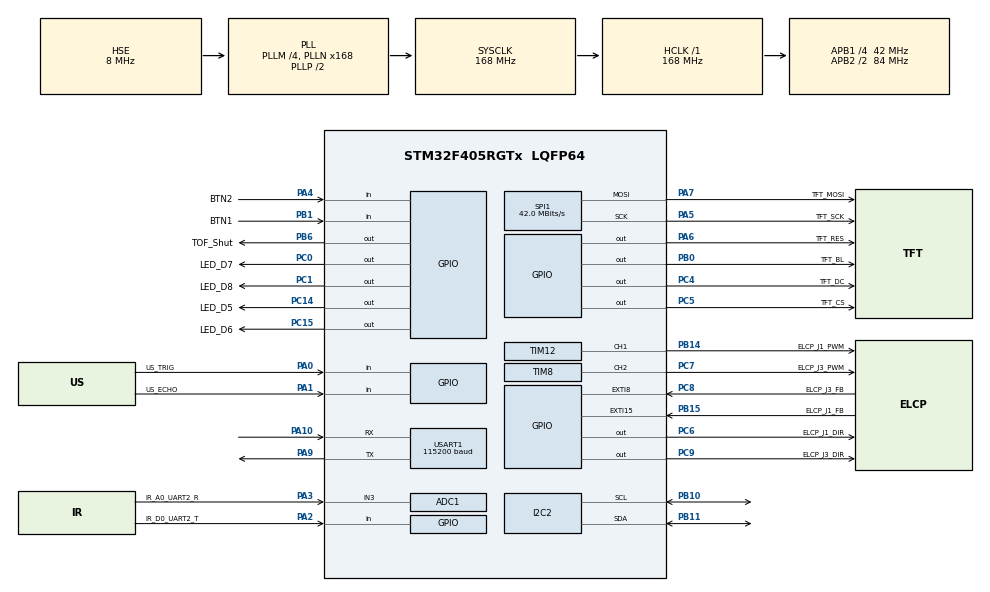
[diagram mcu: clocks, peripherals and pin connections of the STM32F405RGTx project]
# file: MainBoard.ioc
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ADC1.Channel-0\#ChannelRegularConversion=ADC_CHANNEL_3
ADC1.NbrOfConversionFlag=1
ADC1.Rank-0\#ChannelRegularConversion=1
ADC1.SamplingTime-0\#ChannelRegularConversion=ADC_SAMPLETIME_144CYCLES
ADC1.master=1
Dma.Request0=SPI1_TX
Dma.SPI1_TX.0.Direction=DMA_MEMORY_TO_PERIPH
Dma.SPI1_TX.0.FIFOMode=DMA_FIFOMODE_ENABLE
Dma.SPI1_TX.0.FIFOThreshold=DMA_FIFO_THRESHOLD_FULL
Dma.SPI1_TX.0.Instance=DMA2_Stream3
Dma.SPI1_TX.0.MemBurst=DMA_MBURST_INC16
Dma.SPI1_TX.0.MemDataAlignment=DMA_MDATAALIGN_BYTE
Dma.SPI1_TX.0.MemInc=DMA_MINC_ENABLE
Dma.SPI1_TX.0.Mode=DMA_NORMAL
Dma.SPI1_TX.0.PeriphBurst=DMA_PBURST_SINGLE
Dma.SPI1_TX.0.PeriphDataAlignment=DMA_PDATAALIGN_BYTE
Dma.SPI1_TX.0.PeriphInc=DMA_PINC_DISABLE
Dma.SPI1_TX.0.Priority=DMA_PRIORITY_LOW
Mcu.Family=STM32F4
Mcu.Name=STM32F405RGTx
Mcu.Package=LQFP64
NVIC.DMA2_Stream3_IRQn=true\:0\:0\:false\:false\:true\:false\:true\:true
NVIC.EXTI15_10_IRQn=true\:0\:0\:false\:false\:true\:true\:true\:true
NVIC.EXTI9_5_IRQn=true\:0\:0\:false\:false\:true\:true\:true\:true
NVIC.PriorityGroup=NVIC_PRIORITYGROUP_4
NVIC.SPI1_IRQn=true\:0\:0\:false\:false\:true\:true\:true\:true
NVIC.USART1_IRQn=true\:0\:0\:false\:false\:true\:true\:true\:true
PA0-WKUP.GPIO_Label=US_TRIG
PA0-WKUP.Signal=GPIO_Input
PA1.GPIO_Label=US_ECHO
PA1.Signal=GPIO_Input
PA10.Mode=Asynchronous
PA10.Signal=USART1_RX
PA13.Mode=Serial_Wire
PA13.Signal=SYS_JTMS-SWDIO
PA14.Mode=Serial_Wire
PA14.Signal=SYS_JTCK-SWCLK
PA2.GPIO_Label=IR_D0_UART2_T
PA2.Signal=GPIO_Input
PA3.GPIO_Label=IR_A0_UART2_R
PA3.Signal=SharedAnalog_PA3
PA4.GPIO_Label=BTN2
PA4.GPIO_PuPd=GPIO_PULLUP
PA4.Signal=GPIO_Input
PA5.GPIO_Label=TFT_SCK
PA5.Mode=TX_Only_Simplex_Unidirect_Master
PA5.Signal=SPI1_SCK
PA6.GPIO_Label=TFT_RES
PA6.Signal=GPIO_Output
PA7.GPIO_Label=TFT_MOSI
PA7.Mode=TX_Only_Simplex_Unidirect_Master
PA7.Signal=SPI1_MOSI
PA9.Mode=Asynchronous
PA9.Signal=USART1_TX
PB0.GPIO_Label=TFT_BL
PB0.Signal=GPIO_Output
PB1.GPIO_Label=BTN1
PB1.GPIO_PuPd=GPIO_PULLUP
PB1.Signal=GPIO_Input
PB10.Mode=I2C
PB10.Signal=I2C2_SCL
PB11.Mode=I2C
PB11.Signal=I2C2_SDA
PB14.GPIO_Label=ELCP_J1_PWM
PB14.Signal=S_TIM12_CH1
PB15.GPIO_Label=ELCP_J1_FB
PB15.GPIO_PuPd=GPIO_PULLUP
PB15.Signal=GPXTI15
PB6.GPIO_Label=TOF_Shut
PB6.Signal=GPIO_Output
PC0.GPIO_Label=LED_D7
PC0.PinState=GPIO_PIN_SET
PC0.Signal=GPIO_Output
PC1.GPIO_Label=LED_D8
PC1.PinState=GPIO_PIN_SET
PC1.Signal=GPIO_Output
PC14-OSC32_IN.GPIO_Label=LED_D5
PC14-OSC32_IN.PinState=GPIO_PIN_SET
PC14-OSC32_IN.Signal=GPIO_Output
PC15-OSC32_OUT.GPIO_Label=LED_D6
PC15-OSC32_OUT.PinState=GPIO_PIN_SET
PC15-OSC32_OUT.Signal=GPIO_Output
PC4.GPIO_Label=TFT_DC
PC4.Signal=GPIO_Output
PC5.GPIO_Label=TFT_CS
PC5.Signal=GPIO_Output
PC6.GPIO_Label=ELCP_J1_DIR
PC6.GPIO_ModeDefaultOutputPP=GPIO_MODE_OUTPUT_OD
PC6.GPIO_PuPd=GPIO_NOPULL
PC6.Signal=GPIO_Output
PC7.GPIO_Label=ELCP_J3_PWM
PC7.Signal=S_TIM8_CH2
PC8.GPIO_Label=ELCP_J3_FB
PC8.GPIO_PuPd=GPIO_PULLUP
PC8.Signal=GPXTI8
PC9.GPIO_Label=ELCP_J3_DIR
PC9.GPIO_ModeDefaultOutputPP=GPIO_MODE_OUTPUT_OD
PC9.GPIO_PuPd=GPIO_NOPULL
PC9.Signal=GPIO_Output
PH0-OSC_IN.Mode=HSE-External-Oscillator
PH0-OSC_IN.Signal=RCC_OSC_IN
PH1-OSC_OUT.Mode=HSE-External-Oscillator
PH1-OSC_OUT.Signal=RCC_OSC_OUT
ProjectManager.HeapSize=0x200
ProjectManager.StackSize=0x400
ProjectManager.TargetToolchain=CMake
RCC.48MHZClocksFreq_Value=84000000
RCC.AHBFreq_Value=168000000
RCC.APB1CLKDivider=RCC_HCLK_DIV4
RCC.APB1Freq_Value=42000000
RCC.APB1TimFreq_Value=84000000
RCC.APB2CLKDivider=RCC_HCLK_DIV2
RCC.APB2Freq_Value=84000000
RCC.APB2TimFreq_Value=168000000
RCC.CortexFreq_Value=168000000
RCC.HCLKFreq_Value=168000000
RCC.HSE_VALUE=8000000
RCC.HSI_VALUE=16000000
RCC.LSE_VALUE=32768
RCC.PLLM=4
RCC.PLLN=168
RCC.PLLSourceVirtual=RCC_PLLSOURCE_HSE
RCC.SYSCLKFreq_VALUE=168000000
RCC.SYSCLKSource=RCC_SYSCLKSOURCE_PLLCLK
RCC.VCOOutputFreq_Value=336000000
SH.S_TIM12_CH1.0=TIM12_CH1,PWM Generation1 CH1
SH.S_TIM8_CH2.0=TIM8_CH2,PWM Generation2 CH2
SH.SharedAnalog_PA3.0=GPIO_Analog
SH.SharedAnalog_PA3.1=ADC1_IN3,IN3
SPI1.BaudRatePrescaler=SPI_BAUDRATEPRESCALER_2
SPI1.CalculateBaudRate=42.0 MBits/s
SPI1.Direction=SPI_DIRECTION_2LINES
SPI1.Mode=SPI_MODE_MASTER
SPI1.VirtualType=VM_MASTER
TIM12.AutoReloadPreload=TIM_AUTORELOAD_PRELOAD_ENABLE
TIM12.Channel-PWM\ Generation1\ CH1=TIM_CHANNEL_1
TIM12.Period=1049
TIM12.Prescaler=7
TIM8.AutoReloadPreload=TIM_AUTORELOAD_PRELOAD_ENABLE
TIM8.Channel-PWM\ Generation2\ CH2=TIM_CHANNEL_2
TIM8.OCPolarity_2=TIM_OCPOLARITY_HIGH
TIM8.Period=1049
TIM8.Prescaler=7
USART1.BaudRate=115200
USART1.VirtualMode=VM_ASYNC
VP_TIM8_VS_ClockSourceINT.Mode=Internal
board=custom

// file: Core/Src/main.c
/* USER CODE BEGIN Header */
/**
  ******************************************************************************
  * @file           : main.c
  * @brief          : Main program body
  ******************************************************************************
  * @attention
  *
  * Copyright (c) 2026 STMicroelectronics.
  * All rights reserved.
  *
  * This software is licensed under terms that can be found in the LICENSE file
  * in the root directory of this software component.
  * If no LICENSE file comes with this software, it is provided AS-IS.
  *
  ******************************************************************************
  */
/* USER CODE END Header */
#include "main.h"
#include "adc.h"
#include "dma.h"
#include "i2c.h"
#include "spi.h"
#include "tim.h"
#include "usart.h"
#include "gpio.h"

/* USER CODE BEGIN Includes */
#include "lcd/lcd.h"
#include "lcd/lcd_graphics.h"
#include "robotics_logo.h"
#include "elcp_motor/elcp_motor.h"
#include "sensors.h"
#include "tof_config.h"
#include "ir_app.h"
/* USER CODE END Includes */

void SystemClock_Config(void);

int main(void)
{

  /* MCU Configuration--------------------------------------------------------*/

  /* Reset of all peripherals, Initializes the Flash interface and the Systick. */
  HAL_Init();

  /* Configure the system clock */
  SystemClock_Config();

  /* Initialize all configured peripherals */
  MX_GPIO_Init();
  MX_DMA_Init();
  MX_SPI1_Init();
  MX_USART1_UART_Init();
  MX_TIM8_Init();
  MX_TIM12_Init();
  MX_I2C2_Init();
  MX_ADC1_Init();
  /* USER CODE BEGIN 2 */
  IR_Init();
  // Initialize and stop motors on startup
  ELCP_Motor_Init(MOTOR_J1);
  ELCP_Motor_Init(MOTOR_J3);
  ELCP_Motor_Stop(MOTOR_J1);
  ELCP_Motor_Stop(MOTOR_J3);

  tft_init(PIN_ON_TOP, BLACK, WHITE, CYAN, DARK_GREY);
  bool tof_ready = (TOF_Init() == HAL_OK);
  TOF_Sample tof_sample = {0};

  /* USER CODE END 2 */

  /* Infinite loop */
  while (1)
  {

    /* USER CODE BEGIN 3 */
    // Display header title
    uint32_t now = HAL_GetTick();
    IR_Update();
    if (tof_ready && tof_sample.valid)
    {
      tft_prints(0, 9, "TOF:%4umm OK", (unsigned)tof_sample.distance_mm);
    }
    else
    {
      tft_prints(0, 9, "TOF:---- %s", tof_ready ? "BAD" : "ERR");
    }
    tft_update(0);
  /* USER CODE END 3 */
}
}

void SystemClock_Config(void)
{
  RCC_OscInitTypeDef RCC_OscInitStruct = {0};
  RCC_ClkInitTypeDef RCC_ClkInitStruct = {0};

  /** Configure the main internal regulator output voltage
  */
  __HAL_RCC_PWR_CLK_ENABLE();
  __HAL_PWR_VOLTAGESCALING_CONFIG(PWR_REGULATOR_VOLTAGE_SCALE1);

  /** Initializes the RCC Oscillators according to the specified parameters
  * in the RCC_OscInitTypeDef structure.
  */
  RCC_OscInitStruct.OscillatorType = RCC_OSCILLATORTYPE_HSE;
  RCC_OscInitStruct.HSEState = RCC_HSE_ON;
  RCC_OscInitStruct.PLL.PLLState = RCC_PLL_ON;
  RCC_OscInitStruct.PLL.PLLSource = RCC_PLLSOURCE_HSE;
  RCC_OscInitStruct.PLL.PLLM = 4;
  RCC_OscInitStruct.PLL.PLLN = 168;
  RCC_OscInitStruct.PLL.PLLP = RCC_PLLP_DIV2;
  RCC_OscInitStruct.PLL.PLLQ = 4;
  if (HAL_RCC_OscConfig(&RCC_OscInitStruct) != HAL_OK)
  {
    Error_Handler();
  }

  /** Initializes the CPU, AHB and APB buses clocks
  */
  RCC_ClkInitStruct.ClockType = RCC_CLOCKTYPE_HCLK|RCC_CLOCKTYPE_SYSCLK
                              |RCC_CLOCKTYPE_PCLK1|RCC_CLOCKTYPE_PCLK2;
  RCC_ClkInitStruct.SYSCLKSource = RCC_SYSCLKSOURCE_PLLCLK;
  RCC_ClkInitStruct.AHBCLKDivider = RCC_SYSCLK_DIV1;
  RCC_ClkInitStruct.APB1CLKDivider = RCC_HCLK_DIV4;
  RCC_ClkInitStruct.APB2CLKDivider = RCC_HCLK_DIV2;

  if (HAL_RCC_ClockConfig(&RCC_ClkInitStruct, FLASH_LATENCY_5) != HAL_OK)
  {
    Error_Handler();
  }
}

void Error_Handler(void)
{
  __disable_irq();
  while (1)
  {
  }
}
